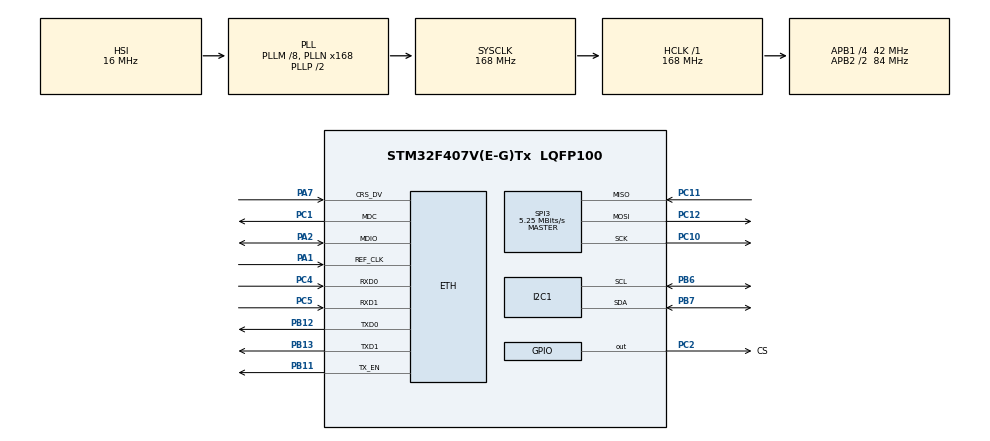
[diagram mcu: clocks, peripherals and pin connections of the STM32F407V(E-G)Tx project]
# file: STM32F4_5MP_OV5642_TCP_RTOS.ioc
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ETH.AutoNegotiation=ETH_AUTONEGOTIATION_DISABLE
ETH.MACAddr=D8\:FC\:93\:E4\:F9\:B7
ETH.MediaInterface=ETH_MEDIA_INTERFACE_RMII
ETH.PHY_Name_RMII=DP83848_PHY_ADDRESS
FREERTOS.BinarySemaphores01=TCPLinkSemaphore,Dynamic,NULL;CmraSemaphore,Dynamic,NULL
FREERTOS.Queues01=TCPQUEUE,16,uint16_t,0,Dynamic,NULL,NULL
FREERTOS.Tasks01=defaultTask,24,128,StartDefaultTask,Default,NULL,Dynamic,NULL,NULL;TcpTask,8,128,Tcp_Task,Default,NULL,Dynamic,NULL,NULL;CameraTask,8,128,Camera_Task,Default,NULL,Dynamic,NULL,NULL
LWIP.GATEWAY_ADDRESS=192.168.001.001
LWIP.IP_ADDRESS=192.168.001.111
LWIP.LWIP_DHCP=0
LWIP.LWIP_NETIF_EXT_STATUS_CALLBACK=1
LWIP.LWIP_NETIF_LINK_CALLBACK=1
LWIP.LWIP_NETIF_LOOPBACK=1
LWIP.LWIP_NETIF_STATUS_CALLBACK=1
LWIP.LWIP_UDP=0
LWIP.MEM_SIZE=11680
LWIP.NETMASK_ADDRESS=255.255.255.000
LWIP.PBUF_POOL_BUFSIZE=1460
LWIP.TCP_MSS=1460
LWIP.TCP_SND_BUF=2920
LWIP.TCP_SND_QUEUELEN=16
LWIP.Version=v2.1.2_Cube
Mcu.Family=STM32F4
Mcu.Name=STM32F407V(E-G)Tx
Mcu.Package=LQFP100
NVIC.ETH_IRQn=true\:5\:0\:false\:false\:true\:true\:false\:true
NVIC.ETH_WKUP_IRQn=true\:5\:0\:false\:false\:true\:true\:true\:true
NVIC.PriorityGroup=NVIC_PRIORITYGROUP_4
NVIC.TIM4_IRQn=true\:0\:0\:false\:false\:true\:false\:false\:true
NVIC.TimeBase=TIM4_IRQn
NVIC.TimeBaseIP=TIM4
PA1.Mode=RMII
PA1.Signal=ETH_REF_CLK
PA13.Mode=JTAG_5_pins
PA13.Signal=SYS_JTMS-SWDIO
PA14.Mode=JTAG_5_pins
PA14.Signal=SYS_JTCK-SWCLK
PA15.Mode=JTAG_5_pins
PA15.Signal=SYS_JTDI
PA2.Mode=RMII
PA2.Signal=ETH_MDIO
PA7.Mode=RMII
PA7.Signal=ETH_CRS_DV
PB11.Mode=RMII
PB11.Signal=ETH_TX_EN
PB12.Mode=RMII
PB12.Signal=ETH_TXD0
PB13.Mode=RMII
PB13.Signal=ETH_TXD1
PB3.Mode=JTAG_5_pins
PB3.Signal=SYS_JTDO-SWO
PB4.Mode=JTAG_5_pins
PB4.Signal=SYS_JTRST
PB6.Mode=I2C
PB6.Signal=I2C1_SCL
PB7.Mode=I2C
PB7.Signal=I2C1_SDA
PC1.Mode=RMII
PC1.Signal=ETH_MDC
PC10.Mode=Full_Duplex_Master
PC10.Signal=SPI3_SCK
PC11.Mode=Full_Duplex_Master
PC11.Signal=SPI3_MISO
PC12.Mode=Full_Duplex_Master
PC12.Signal=SPI3_MOSI
PC2.GPIO_Label=CS
PC2.Signal=GPIO_Output
PC4.Mode=RMII
PC4.Signal=ETH_RXD0
PC5.Mode=RMII
PC5.Signal=ETH_RXD1
PH0-OSC_IN.Mode=HSE-External-Oscillator
PH0-OSC_IN.Signal=RCC_OSC_IN
PH1-OSC_OUT.Mode=HSE-External-Oscillator
PH1-OSC_OUT.Signal=RCC_OSC_OUT
ProjectManager.HeapSize=0x400
ProjectManager.StackSize=0x400
ProjectManager.TargetToolchain=STM32CubeIDE
RCC.48MHZClocksFreq_Value=84000000
RCC.AHBFreq_Value=168000000
RCC.APB1CLKDivider=RCC_HCLK_DIV4
RCC.APB1Freq_Value=42000000
RCC.APB1TimFreq_Value=84000000
RCC.APB2CLKDivider=RCC_HCLK_DIV2
RCC.APB2Freq_Value=84000000
RCC.APB2TimFreq_Value=168000000
RCC.CortexFreq_Value=168000000
RCC.HCLKFreq_Value=168000000
RCC.HSE_VALUE=8000000
RCC.HSI_VALUE=16000000
RCC.LSE_VALUE=32768
RCC.PLLM=8
RCC.PLLN=168
RCC.SYSCLKFreq_VALUE=168000000
RCC.SYSCLKSource=RCC_SYSCLKSOURCE_PLLCLK
RCC.VCOOutputFreq_Value=336000000
SPI3.BaudRatePrescaler=SPI_BAUDRATEPRESCALER_8
SPI3.CalculateBaudRate=5.25 MBits/s
SPI3.Direction=SPI_DIRECTION_2LINES
SPI3.Mode=SPI_MODE_MASTER
SPI3.VirtualType=VM_MASTER
VP_FREERTOS_VS_CMSIS_V2.Mode=CMSIS_V2
VP_LWIP_VS_Enabled.Mode=Enabled
VP_SYS_VS_tim4.Mode=TIM4
board=custom

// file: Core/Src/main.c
/* USER CODE BEGIN Header */
/**
  ******************************************************************************
  * @file           : main.c
  * @brief          : Main program body
  ******************************************************************************
  * @attention
  *
  * <h2><center>&copy; Copyright (c) 2020 STMicroelectronics.
  * All rights reserved.</center></h2>
  *
  * This software component is licensed by ST under Ultimate Liberty license
  * SLA0044, the "License"; You may not use this file except in compliance with
  * the License. You may obtain a copy of the License at:
  *                             www.st.com/SLA0044
  *
  ******************************************************************************
  */
/* USER CODE END Header */

#include "main.h"
#include "cmsis_os.h"
#include "i2c.h"
#include "lwip.h"
#include "spi.h"
#include "gpio.h"

void SystemClock_Config(void);
void MX_FREERTOS_Init(void);

int main(void)
{

  /* MCU Configuration--------------------------------------------------------*/

  /* Reset of all peripherals, Initializes the Flash interface and the Systick. */
  HAL_Init();

  /* Configure the system clock */
  SystemClock_Config();

  /* Initialize all configured peripherals */
  MX_GPIO_Init();
  MX_I2C1_Init();
  MX_SPI3_Init();

  /* Init scheduler */
  osKernelInitialize();  /* Call init function for freertos objects (in freertos.c) */
  MX_FREERTOS_Init();
  /* Start scheduler */
  osKernelStart();

  /* We should never get here as control is now taken by the scheduler */
  /* Infinite loop */
  while (1)
  {

  }
}

void SystemClock_Config(void)
{
  RCC_OscInitTypeDef RCC_OscInitStruct = {0};
  RCC_ClkInitTypeDef RCC_ClkInitStruct = {0};

  /** Configure the main internal regulator output voltage
  */
  __HAL_RCC_PWR_CLK_ENABLE();
  __HAL_PWR_VOLTAGESCALING_CONFIG(PWR_REGULATOR_VOLTAGE_SCALE1);
  /** Initializes the CPU, AHB and APB busses clocks
  */
  RCC_OscInitStruct.OscillatorType = RCC_OSCILLATORTYPE_HSI;
  RCC_OscInitStruct.HSIState = RCC_HSI_ON;
  RCC_OscInitStruct.HSICalibrationValue = RCC_HSICALIBRATION_DEFAULT;
  RCC_OscInitStruct.PLL.PLLState = RCC_PLL_ON;
  RCC_OscInitStruct.PLL.PLLSource = RCC_PLLSOURCE_HSI;
  RCC_OscInitStruct.PLL.PLLM = 8;
  RCC_OscInitStruct.PLL.PLLN = 168;
  RCC_OscInitStruct.PLL.PLLP = RCC_PLLP_DIV2;
  RCC_OscInitStruct.PLL.PLLQ = 4;
  if (HAL_RCC_OscConfig(&RCC_OscInitStruct) != HAL_OK)
  {
    Error_Handler();
  }
  /** Initializes the CPU, AHB and APB busses clocks
  */
  RCC_ClkInitStruct.ClockType = RCC_CLOCKTYPE_HCLK|RCC_CLOCKTYPE_SYSCLK
                              |RCC_CLOCKTYPE_PCLK1|RCC_CLOCKTYPE_PCLK2;
  RCC_ClkInitStruct.SYSCLKSource = RCC_SYSCLKSOURCE_PLLCLK;
  RCC_ClkInitStruct.AHBCLKDivider = RCC_SYSCLK_DIV1;
  RCC_ClkInitStruct.APB1CLKDivider = RCC_HCLK_DIV4;
  RCC_ClkInitStruct.APB2CLKDivider = RCC_HCLK_DIV2;

  if (HAL_RCC_ClockConfig(&RCC_ClkInitStruct, FLASH_LATENCY_5) != HAL_OK)
  {
    Error_Handler();
  }
}

 /**
  * @brief  Period elapsed callback in non blocking mode
  * @note   This function is called  when TIM4 interrupt took place, inside
  * HAL_TIM_IRQHandler(). It makes a direct call to HAL_IncTick() to increment
  * a global variable "uwTick" used as application time base.
  * @param  htim : TIM handle
  * @retval None
  */
void HAL_TIM_PeriodElapsedCallback(TIM_HandleTypeDef *htim)
{
  if (htim->Instance == TIM4) {
    HAL_IncTick();
  }
}

void Error_Handler(void)
{
}

/************************ (C) COPYRIGHT STMicroelectronics *****END OF FILE****/

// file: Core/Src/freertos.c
/* USER CODE BEGIN Header */
/**
 ******************************************************************************
 * File Name          : freertos.c
 * Description        : Code for freertos applications
 ******************************************************************************
 * @attention
 *
 * <h2><center>&copy; Copyright (c) 2020 STMicroelectronics.
 * All rights reserved.</center></h2>
 *
 * This software component is licensed by ST under Ultimate Liberty license
 * SLA0044, the "License"; You may not use this file except in compliance with
 * the License. You may obtain a copy of the License at:
 *                             www.st.com/SLA0044
 *
 ******************************************************************************
 */
/* USER CODE END Header */

#include "FreeRTOS.h"
#include "task.h"
#include "main.h"
#include "cmsis_os.h"

/* USER CODE BEGIN Includes */
#include "lwip/opt.h"
#include "lwip/sys.h"
#include "lwip/api.h"

#include <string.h>

#include "Camera_motion.h"
#include "Camera_function.h"

#include "FreeRTOS2.h"
/* USER CODE END Includes */

/* USER CODE BEGIN PTD */
struct TCP_str TCP_arg;
struct TCP_str CMRA_arg;
/* USER CODE END PTD */

/* Definitions for defaultTask */
osThreadId_t defaultTaskHandle;
const osThreadAttr_t defaultTask_attributes =
{ .name = "defaultTask", .priority = (osPriority_t) osPriorityNormal, .stack_size = 128 * 4 };
/* Definitions for TcpTask */
osThreadId_t TcpTaskHandle;
const osThreadAttr_t TcpTask_attributes =
{ .name = "TcpTask", .priority = (osPriority_t) osPriorityLow, .stack_size = 128 * 4 };
/* Definitions for CameraTask */
osThreadId_t CameraTaskHandle;
const osThreadAttr_t CameraTask_attributes =
{ .name = "CameraTask", .priority = (osPriority_t) osPriorityLow, .stack_size = 128 * 4 };

void StartDefaultTask(void *argument);
void Tcp_Task(void *argument);
void Camera_Task(void *argument);

extern void MX_LWIP_Init(void);
void MX_FREERTOS_Init(void); /* (MISRA C 2004 rule 8.1) */

void MX_FREERTOS_Init(void)
{

	/* Create the thread(s) */
	/* creation of defaultTask */
	defaultTaskHandle = osThreadNew(StartDefaultTask, NULL, &defaultTask_attributes);

	/* creation of TcpTask */
	//  TcpTaskHandle = osThreadNew(Tcp_Task, NULL, &TcpTask_attributes);
	/* creation of CameraTask */
	// CameraTaskHandle = osThreadNew(Camera_Task, NULL, &CameraTask_attributes);
}

void StartDefaultTask(void *argument)
{
	/* init code for LWIP */
	MX_LWIP_Init();
	/* USER CODE BEGIN StartDefaultTask */
	set_format(JPEG);
	initCAM();
	set_bit(0x03, 0x02);
	clear_fifo_flag();
	write_reg(0x01, 0x00);
	OV5642_set_JPEG_size(OV5642_1600x1200);

	TcpTaskHandle = osThreadNew(Tcp_Task, NULL, &TcpTask_attributes);
	// CameraTaskHandle = osThreadNew(Camera_Task, NULL, &CameraTask_attributes);
	/* Infinite loop */
	for (;;)
	{
		HAL_Delay(100);
		osDelay(100);
	}
	/* USER CODE END StartDefaultTask */
}

void Tcp_Task(void *argument)
{
	/* USER CODE BEGIN Tcp_Task */
	struct netconn *conn, *newconn;
	err_t err, accept_err;
	struct netbuf *buf;
	void *data;
	u16_t len;

	LWIP_UNUSED_ARG(argument);
	conn = netconn_new(NETCONN_TCP);
	if (conn != NULL)
	{
		err = netconn_bind(conn, NULL, 1460);

		if (err == ERR_OK)
		{
			netconn_listen(conn);

			while (1)
			{
				accept_err = netconn_accept(conn, &newconn);
				if (accept_err == ERR_OK)
				{
					while (netconn_recv(newconn, &buf) == ERR_OK)
					{

						netbuf_data(buf, &data, &len);

						if (strcmp(data, "CMRA") == 0)
						{
							Camera_Capture(newconn);
						}

						else if (strcmp(data, "CMIT") == 0)
						{
							Camera_interface_test(newconn);
						}
						else
						{
							// netconn_write(newconn, "ERROR", 5, NETCONN_COPY);
							//netconn_write(newconn, "ERROR", 5, NETCONN_NOFLAG);
							//osDelay(100);
						}
						netbuf_delete(buf);
					}

#ifdef DEBUG
					// printf("LWIP_TASK\n\r");
#endif
					netconn_close(newconn);
					netconn_delete(newconn);
				}
			}
		}
		else
		{
			netconn_delete(newconn);
		}
	}

	/* Infinite loop */

	/* USER CODE END Tcp_Task */
}

void Camera_Task(void *argument)
{
	/* USER CODE BEGIN Camera_Task */
	uint8_t CMRA_I2C_Pin;
	/* Infinite loop */
	for (;;)
	{
		write_reg(0x00, 0x88);
		rdSensorReg16_8(0x300a, &CMRA_I2C_Pin);
		osDelay(100);
	}
	/* USER CODE END Camera_Task */
}

/************************ (C) COPYRIGHT STMicroelectronics *****END OF FILE****/
